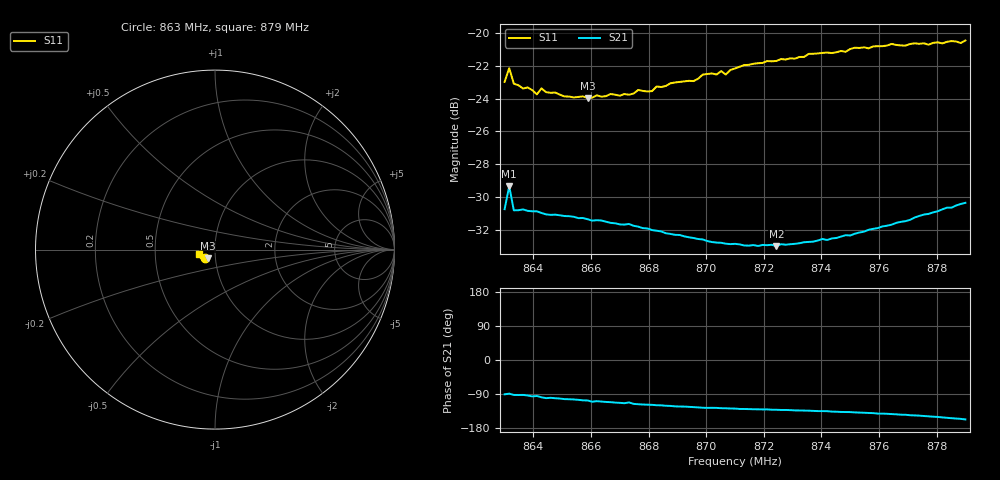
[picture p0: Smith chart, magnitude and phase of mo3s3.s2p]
# HZ S RI R 50
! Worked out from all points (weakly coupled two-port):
!   101 points, 863 MHz to 879 MHz, reference 50 ohm
!   highest |S21| = -29.34 dB at 863.16 MHz (marker M1); lowest = -33.0 dB at 872.44 MHz (marker M2)
!   lowest |S11| = -24.0 dB at 865.88 MHz (marker M3), VSWR 1.14, Z = 45.8 - j4.39 ohm
!   |S11| at or under -10 dB: start of sweep to end of sweep
!   S12 and S22 are empty: the file has one direction only
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8.63e8  -0.0529 -0.0473  -0.000301 -0.029  0 0  0 0
8.6316e8  -0.0527 -0.0577  0.000732 -0.0341  0 0  0 0
8.6332e8  -0.0515 -0.0476  -0.00111 -0.0288  0 0  0 0
8.638e8  -0.0484 -0.0481  -0.00184 -0.0286  0 0  0 0
8.6412e8  -0.0453 -0.0466  -0.00247 -0.0285  0 0  0 0
8.6428e8  -0.0485 -0.0473  -0.00414 -0.028  0 0  0 0
8.6508e8  -0.0431 -0.0474  -0.00632 -0.0269  0 0  0 0
8.6572e8  -0.0416 -0.0487  -0.00774 -0.0262  0 0  0 0
8.6588e8  -0.0418 -0.0477  -0.00783 -0.0259  0 0  0 0
8.6732e8  -0.041 -0.0503  -0.00979 -0.0243  0 0  0 0
8.6764e8  -0.0414 -0.0528  -0.0115 -0.023  0 0  0 0
8.6812e8  -0.0408 -0.0525  -0.0119 -0.0221  0 0  0 0
8.6844e8  -0.0416 -0.0544  -0.0123 -0.0216  0 0  0 0
8.6956e8  -0.0442 -0.056  -0.0134 -0.0196  0 0  0 0
8.6988e8  -0.046 -0.0589  -0.0138 -0.019  0 0  0 0
8.7052e8  -0.0494 -0.0584  -0.0139 -0.0183  0 0  0 0
8.7068e8  -0.0479 -0.0574  -0.0139 -0.0181  0 0  0 0
8.71e8  -0.0515 -0.0586  -0.0141 -0.0179  0 0  0 0
8.7244e8  -0.0587 -0.0576  -0.0148 -0.0168  0 0  0 0
8.7372e8  -0.066 -0.0559  -0.0162 -0.0165  0 0  0 0
8.7644e8  -0.0814 -0.0442  -0.0207 -0.0158  0 0  0 0
8.79e8  -0.0911 -0.0267  -0.0279 -0.0119  0 0  0 0
